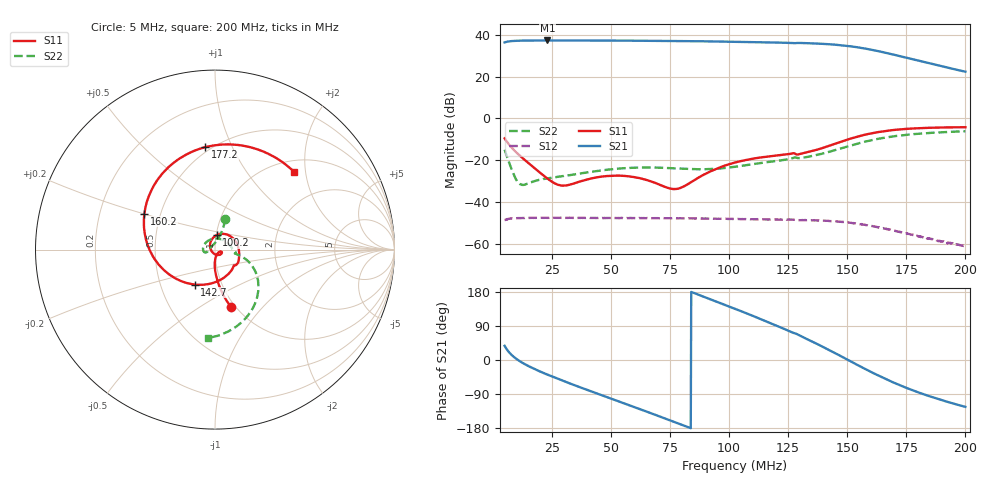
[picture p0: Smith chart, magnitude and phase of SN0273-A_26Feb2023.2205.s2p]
# Hz S DB R 50
! CMT, M5045, 22160017, 22.4.3/2
! Date: 2/26/2023 22:05:43
! Data: Format (Calibration Info)
! Freq	S11:dB/Ang(F2)	S21:dB/Ang(F2)	S12:dB/Ang(F2)	S22:dB/Ang(F2)
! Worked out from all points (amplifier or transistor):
!   1001 points, 5 MHz to 200 MHz, reference 50 ohm
!   highest |S21| = 37.3 dB at 23.14 MHz (marker M1)
!   |S21| within 3 dB of that: start of sweep to 152.7 MHz
!   unconditionally stable (mu >= 1): start of sweep to end of sweep
!   at 37.37 MHz: K = 1.78, MAG = 37.3 dB, |S12| = -47.6 dB
!   at 102.5 MHz: K = 1.97, MAG = 36.7 dB, |S12| = -48.1 dB
!   at 200 MHz: K = 20.23, MAG = 25.6 dB, |S12| = -61.0 dB
!   S11 on the Smith chart (normalised r, x): 5 MHz: 0.96, -0.69; 100.2 MHz: 1.01, +0.16; 142.7 MHz: 0.74, -0.30; 160.2 MHz: 0.41, +0.20; 177.2 MHz: 0.47, +0.79; 200 MHz: 1.23, +1.73
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5000000  -9.51 -74.1  36.37 37.4  -48.67 40.9  -14.92 71.6
7730000  -13.61 -83.0  37.01 14.8  -47.81 17.5  -23.63 73.6
1.1045e7  -17.42 -88.3  37.21 -1.6  -47.67 1.1  -31.06 111.8
1.6505e7  -22.68 -91.0  37.31 -20.4  -47.57 -17.8  -30.41 165.5
2.3135e7  -28.74 -80.3  37.33 -38.7  -47.56 -35.2  -28.65 -177.5
3.7565e7  -29.95 -18.8  37.30 -73.4  -47.52 -67.9  -26.23 -162.5
4.5365e7  -27.93 -19.8  37.27 -91.3  -47.60 -84.6  -24.93 -163.2
5.336e7  -27.34 -31.8  37.24 -109.4  -47.68 -102.3  -23.97 -170.0
7.013e7  -31.49 -86.9  37.16 -147.8  -47.74 -138.1  -23.54 161.0
8.495e7  -29.73 148.0  37.00 177.3  -47.77 -171.2  -24.27 117.0
1.0016e8  -21.86 83.6  36.72 140.8  -48.06 153.4  -23.45 57.8
1.025e8  -21.09 75.5  36.67 135.1  -48.07 148.6  -23.10 49.3
1.1108e8  -19.05 44.9  36.51 113.9  -48.23 128.2  -21.69 22.7
1.1927e8  -17.85 11.7  36.34 92.8  -48.30 108.9  -20.41 4.7
1.29215e8  -17.20 -41.0  36.15 66.6  -48.64 81.6  -18.98 -11.3
1.35065e8  -15.61 -74.1  35.94 48.9  -48.75 66.0  -17.98 -12.3
1.4267e8  -12.94 -120.2  35.50 25.3  -49.11 43.3  -15.85 -15.3
1.50665e8  -9.89 -163.5  34.64 -1.0  -49.86 18.0  -13.18 -22.7
1.6022e8  -7.10 153.0  32.89 -32.0  -51.43 -12.5  -10.40 -37.1
1.6763e8  -5.77 125.0  31.08 -54.1  -53.14 -34.7  -8.86 -50.0
1.77185e8  -4.83 95.4  28.47 -78.8  -55.57 -59.0  -7.58 -65.6
2e8  -4.19 44.6  22.39 -123.7  -61.00 -104.9  -6.12 -94.5
